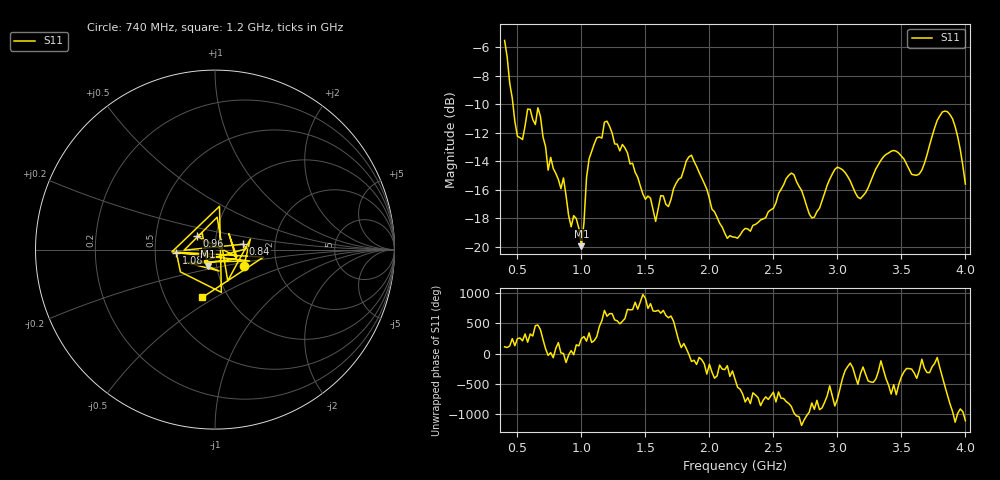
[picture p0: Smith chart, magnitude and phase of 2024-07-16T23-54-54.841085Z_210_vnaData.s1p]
!Created with skrf (http://scikit-rf.org).
# Hz S RI R 50.0
!freq ReS11 ImS11
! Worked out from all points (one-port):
!   181 points, 400 MHz to 4 GHz, reference 50 ohm
!   lowest |S11| = -20.0 dB at 1 GHz (marker M1), VSWR 1.22, Z = 45.3 - j8.39 ohm
!   |S11| at or under -10 dB: 465 MHz to end of sweep
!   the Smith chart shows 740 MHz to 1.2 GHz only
!   S11 on the Smith chart (normalised r, x): 740 MHz: 1.35, -0.26; 840 MHz: 1.37, +0.08; 960 MHz: 0.81, +0.12; 1.08 GHz: 0.65, -0.02; 1.2 GHz: 0.76, -0.44
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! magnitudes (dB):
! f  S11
! 400 MHz  -5.5
! 500 MHz  -12.2
! 660 MHz  -10.3
! 740 MHz  -14.6
! 760 MHz  -13.7
! 840 MHz  -15.9
! 860 MHz  -15.2
! 920 MHz  -18.6
! 960 MHz  -18.0
! 1 GHz  -20.0
! 1.04 GHz  -15.2
! 1.08 GHz  -13.3
! 1.2 GHz  -11.2
! 1.3 GHz  -13.3
! 1.58 GHz  -18.2
! 1.76 GHz  -15.3
! 1.86 GHz  -13.6
! 2.2 GHz  -19.3
! 2.66 GHz  -14.9
! 2.8 GHz  -18.0
! 2.98 GHz  -14.6
! 3.1 GHz  -15.4
! 3.18 GHz  -16.6
! 3.44 GHz  -13.2
! 3.56 GHz  -14.6
! 3.64 GHz  -14.9
! 3.86 GHz  -10.5
! 4 GHz  -15.6
